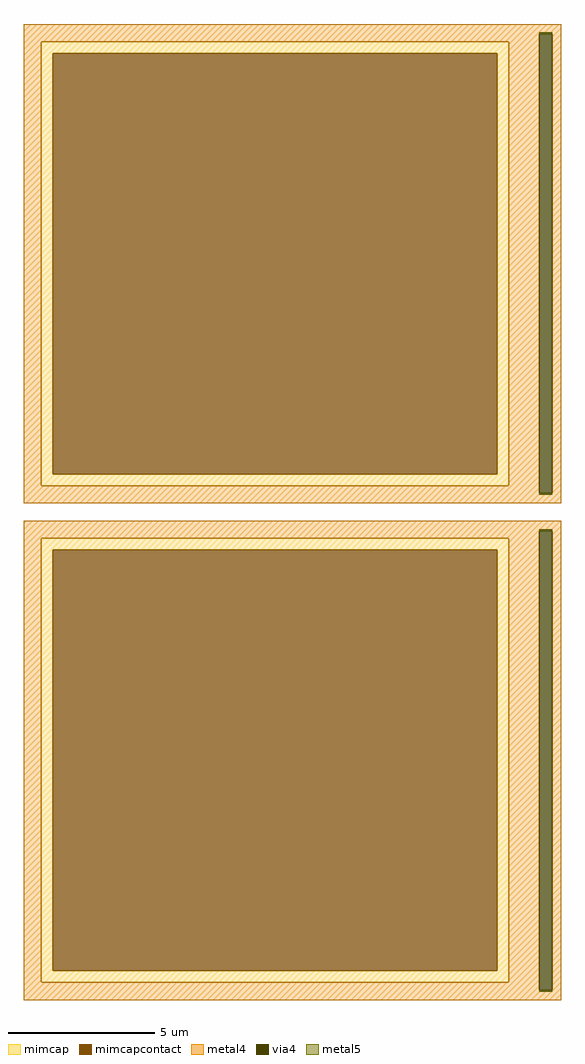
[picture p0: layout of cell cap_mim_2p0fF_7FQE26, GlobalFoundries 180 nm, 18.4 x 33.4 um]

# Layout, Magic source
magic
tech gf180mcuC
magscale 1 10
<< mimcap >>
rect -1720 3140 1480 3220
rect -1720 260 -1640 3140
rect 1400 260 1480 3140
rect -1720 180 1480 260
rect -1720 -260 1480 -180
rect -1720 -3140 -1640 -260
rect 1400 -3140 1480 -260
rect -1720 -3220 1480 -3140
<< mimcapcontact >>
rect -1640 260 1400 3140
rect -1640 -3140 1400 -260
<< metal4 >>
rect -1840 3273 1840 3340
rect -1840 3220 1690 3273
rect -1840 180 -1720 3220
rect 1480 180 1690 3220
rect -1840 127 1690 180
rect 1778 127 1840 3273
rect -1840 60 1840 127
rect -1840 -127 1840 -60
rect -1840 -180 1690 -127
rect -1840 -3220 -1720 -180
rect 1480 -3220 1690 -180
rect -1840 -3273 1690 -3220
rect 1778 -3273 1840 -127
rect -1840 -3340 1840 -3273
<< via4 >>
rect 1690 127 1778 3273
rect 1690 -3273 1778 -127
<< metal5 >>
rect 1690 3273 1778 3283
rect 1690 117 1778 127
rect 1690 -127 1778 -117
rect 1690 -3283 1778 -3273
<< properties >>
string FIXED_BBOX -1840 60 1600 3340
string gencell cap_mim_2p0fF
string library gf180mcu
string parameters w 16 l 15.2 val 7.328k carea 25.00 cperi 20.00 nx 1 ny 2 dummy 0 square 0 lmin 5.00 wmin 5.00 lmax 100.0 wmax 100.0 dc 0 bconnect 0 tconnect 0
<< end >>
